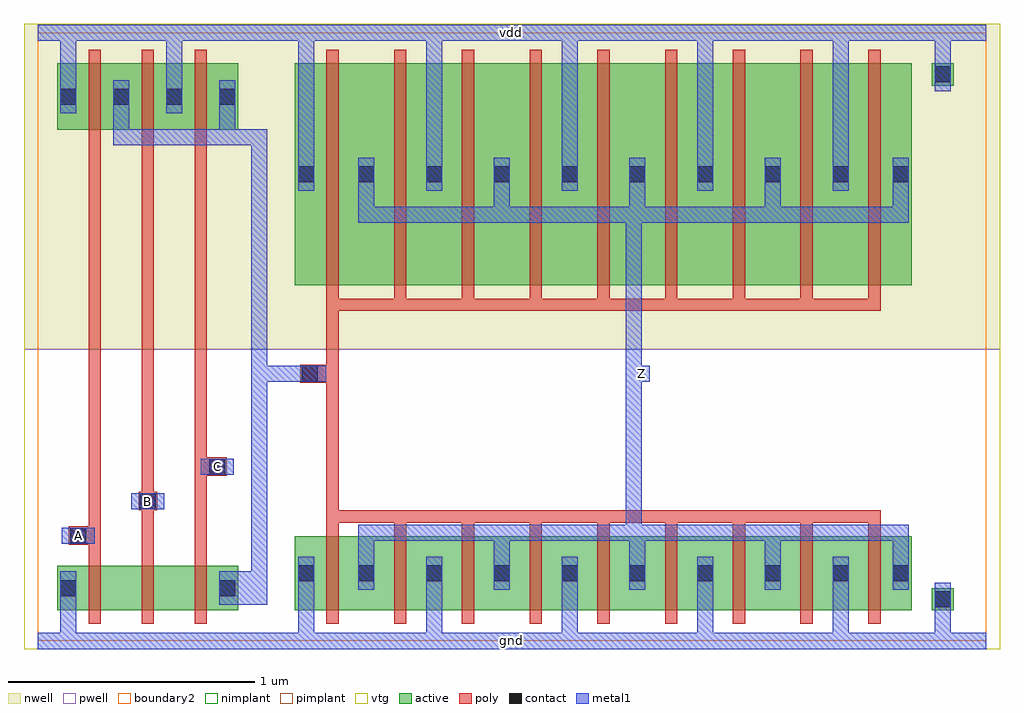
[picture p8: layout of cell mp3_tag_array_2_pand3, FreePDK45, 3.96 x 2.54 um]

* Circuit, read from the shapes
.subckt mp3_tag_array_2_pand3 A B C Z gnd vdd
M1 mp3_tag_array_2_pnand3_0_0/mp3_tag_array_2_nmos_m1_w0_180_sm1_dactive_3/D A gnd gnd nfet w=0.18u l=0.05u
M2 mp3_tag_array_2_pnand3_0_0/mp3_tag_array_2_nmos_m1_w0_180_sactive_dactive_4/D B mp3_tag_array_2_pnand3_0_0/mp3_tag_array_2_nmos_m1_w0_180_sm1_dactive_3/D gnd nfet w=0.18u l=0.05u
M3 mp3_tag_array_2_pdriver_2_1/A C mp3_tag_array_2_pnand3_0_0/mp3_tag_array_2_nmos_m1_w0_180_sactive_dactive_4/D gnd nfet w=0.18u l=0.05u
M4 Z mp3_tag_array_2_pdriver_2_1/A gnd gnd nfet w=0.3u l=0.05u m=9
M5 mp3_tag_array_2_pdriver_2_1/A A vdd vdd pfet w=0.27u l=0.05u
M6 vdd B mp3_tag_array_2_pdriver_2_1/A vdd pfet w=0.27u l=0.05u
M7 mp3_tag_array_2_pdriver_2_1/A C vdd vdd pfet w=0.27u l=0.05u
M8 Z mp3_tag_array_2_pdriver_2_1/A vdd vdd pfet w=0.9u l=0.05u m=9
.ends

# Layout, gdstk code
import gdstk
lib = gdstk.Library(unit=1e-6, precision=5e-10)
def R(c, l, rs):  # rectangles x0, y0, x1, y1
    for r in rs: c.add(gdstk.rectangle(r[:2], r[2:], *l))
def A(c, l, x, y, w, h, nx, ny, dx, dy):  # array of equal rectangles
    R(c, l, [(x+i*dx, y+j*dy, x+i*dx+w, y+j*dy+h) for i in range(nx) for j in range(ny)])
active = (1, 0)
pwell = (2, 0)
nwell = (3, 0)
nimplant = (4, 0)
pimplant = (5, 0)
vtg = (6, 0)
poly = (9, 0)
contact = (10, 0)
metal1 = (11, 0)
boundary2 = (239, 0)

mp3_tag_array_2_contact_ = lib.new_cell('mp3_tag_array_2_contact_11')
R(mp3_tag_array_2_contact_, active, [(0,0.0225,0.09,0.1125)])
R(mp3_tag_array_2_contact_, nwell, [(-0.055,-0.0325,0.145,0.1675)])
R(mp3_tag_array_2_contact_, pimplant, [(0,0.0225,0.09,0.1125)])
R(mp3_tag_array_2_contact_, contact, [(0.0125,0.035,0.0775,0.1)])
R(mp3_tag_array_2_contact_, metal1, [(0.0125,0,0.0775,0.135)])
R(mp3_tag_array_2_contact_, boundary2, [(-0.055,-0.0325,0.145,0.1675)])

mp3_tag_array_2_pmos_m1_ = lib.new_cell('mp3_tag_array_2_pmos_m1_w0_270_sm1_dm1')
R(mp3_tag_array_2_pmos_m1_, active, [(0,0,0.305,0.27)])
R(mp3_tag_array_2_pmos_m1_, nwell, [(-0.08,-0.08,0.385,0.35)])
R(mp3_tag_array_2_pmos_m1_, pimplant, [(0,0,0.305,0.27)])
R(mp3_tag_array_2_pmos_m1_, vtg, [(-0.08,-0.08,0.385,0.35)])
R(mp3_tag_array_2_pmos_m1_, poly, [(0.1275,-0.055,0.1775,0.325), (0.1275,-0.055,0.1775,0.325)])
R(mp3_tag_array_2_pmos_m1_, metal1, [(0.0125,0.0675,0.0775,0.2025), (0.2275,0.0675,0.2925,0.2025)])
R(mp3_tag_array_2_pmos_m1_, boundary2, [(-0.08,-0.08,0.385,0.35)])
mp3_tag_array_2_pmos_m1_.add(gdstk.Reference(mp3_tag_array_2_contact_, (0,0.0675)))
mp3_tag_array_2_pmos_m1_.add(gdstk.Reference(mp3_tag_array_2_contact_, (0.215,0.0675)))
mp3_tag_array_2_pmos_m1_.add(gdstk.Label('G', (0.1525,0.135), layer=9, texttype=0))
mp3_tag_array_2_pmos_m1_.add(gdstk.Label('S', (0.045,0.135), layer=11, texttype=0))
mp3_tag_array_2_pmos_m1_.add(gdstk.Label('D', (0.26,0.135), layer=11, texttype=0))

c_mp3_tag_array_2_contact_ = lib.new_cell('mp3_tag_array_2_contact_10')
R(c_mp3_tag_array_2_contact_, active, [(0,0.0225,0.09,0.1125)])
R(c_mp3_tag_array_2_contact_, pwell, [(-0.055,-0.0325,0.145,0.1675)])
R(c_mp3_tag_array_2_contact_, nimplant, [(0,0.0225,0.09,0.1125)])
R(c_mp3_tag_array_2_contact_, contact, [(0.0125,0.035,0.0775,0.1)])
R(c_mp3_tag_array_2_contact_, metal1, [(0.0125,0,0.0775,0.135)])
R(c_mp3_tag_array_2_contact_, boundary2, [(-0.055,-0.0325,0.145,0.1675)])

mp3_tag_array_2_nmos_m1_ = lib.new_cell('mp3_tag_array_2_nmos_m1_w0_180_sm1_dactive')
R(mp3_tag_array_2_nmos_m1_, active, [(0,0,0.305,0.18), (0.215,0.045,0.305,0.135)])
R(mp3_tag_array_2_nmos_m1_, pwell, [(-0.08,-0.08,0.385,0.26)])
R(mp3_tag_array_2_nmos_m1_, nimplant, [(0,0,0.305,0.18)])
R(mp3_tag_array_2_nmos_m1_, vtg, [(-0.08,-0.08,0.385,0.26)])
R(mp3_tag_array_2_nmos_m1_, poly, [(0.1275,-0.055,0.1775,0.235), (0.1275,-0.055,0.1775,0.235)])
R(mp3_tag_array_2_nmos_m1_, metal1, [(0.0125,0.0225,0.0775,0.1575)])
R(mp3_tag_array_2_nmos_m1_, boundary2, [(-0.08,-0.08,0.385,0.26)])
mp3_tag_array_2_nmos_m1_.add(gdstk.Reference(c_mp3_tag_array_2_contact_, (0,0.0225)))
mp3_tag_array_2_nmos_m1_.add(gdstk.Label('G', (0.1525,0.09), layer=9, texttype=0))
mp3_tag_array_2_nmos_m1_.add(gdstk.Label('S', (0.045,0.09), layer=11, texttype=0))
mp3_tag_array_2_nmos_m1_.add(gdstk.Label('D', (0.26,0.09), layer=1, texttype=0))

c_mp3_tag_array_2_nmos_m1_ = lib.new_cell('mp3_tag_array_2_nmos_m1_w0_180_sactive_dactive')
R(c_mp3_tag_array_2_nmos_m1_, active, [(0,0,0.305,0.18), (0,0.045,0.09,0.135), (0.215,0.045,0.305,0.135)])
R(c_mp3_tag_array_2_nmos_m1_, pwell, [(-0.08,-0.08,0.385,0.26)])
R(c_mp3_tag_array_2_nmos_m1_, nimplant, [(0,0,0.305,0.18)])
R(c_mp3_tag_array_2_nmos_m1_, vtg, [(-0.08,-0.08,0.385,0.26)])
R(c_mp3_tag_array_2_nmos_m1_, poly, [(0.1275,-0.055,0.1775,0.235), (0.1275,-0.055,0.1775,0.235)])
R(c_mp3_tag_array_2_nmos_m1_, boundary2, [(-0.08,-0.08,0.385,0.26)])
c_mp3_tag_array_2_nmos_m1_.add(gdstk.Label('G', (0.1525,0.09), layer=9, texttype=0))
c_mp3_tag_array_2_nmos_m1_.add(gdstk.Label('S', (0.045,0.09), layer=1, texttype=0))
c_mp3_tag_array_2_nmos_m1_.add(gdstk.Label('D', (0.26,0.09), layer=1, texttype=0))

c_mp3_tag_array_2_nmos_m1__ = lib.new_cell('mp3_tag_array_2_nmos_m1_w0_180_sactive_dm1')
R(c_mp3_tag_array_2_nmos_m1__, active, [(0,0,0.305,0.18), (0,0.045,0.09,0.135)])
R(c_mp3_tag_array_2_nmos_m1__, pwell, [(-0.08,-0.08,0.385,0.26)])
R(c_mp3_tag_array_2_nmos_m1__, nimplant, [(0,0,0.305,0.18)])
R(c_mp3_tag_array_2_nmos_m1__, vtg, [(-0.08,-0.08,0.385,0.26)])
R(c_mp3_tag_array_2_nmos_m1__, poly, [(0.1275,-0.055,0.1775,0.235), (0.1275,-0.055,0.1775,0.235)])
R(c_mp3_tag_array_2_nmos_m1__, metal1, [(0.2275,0.0225,0.2925,0.1575)])
R(c_mp3_tag_array_2_nmos_m1__, boundary2, [(-0.08,-0.08,0.385,0.26)])
c_mp3_tag_array_2_nmos_m1__.add(gdstk.Reference(c_mp3_tag_array_2_contact_, (0.215,0.0225)))
c_mp3_tag_array_2_nmos_m1__.add(gdstk.Label('G', (0.1525,0.09), layer=9, texttype=0))
c_mp3_tag_array_2_nmos_m1__.add(gdstk.Label('S', (0.045,0.09), layer=1, texttype=0))
c_mp3_tag_array_2_nmos_m1__.add(gdstk.Label('D', (0.26,0.09), layer=11, texttype=0))

c_mp3_tag_array_2_contact__ = lib.new_cell('mp3_tag_array_2_contact_14')
R(c_mp3_tag_array_2_contact__, poly, [(0.03,0,0.105,0.075)])
R(c_mp3_tag_array_2_contact__, contact, [(0.035,0.005,0.1,0.07)])
R(c_mp3_tag_array_2_contact__, metal1, [(0,0.005,0.135,0.07)])
R(c_mp3_tag_array_2_contact__, boundary2, [(0,0,0.135,0.075)])

mp3_tag_array_2_pnand3_0 = lib.new_cell('mp3_tag_array_2_pnand3_0')
R(mp3_tag_array_2_pnand3_0, pwell, [(-0.055,-0.0325,1.02,1.185)])
R(mp3_tag_array_2_pnand3_0, nwell, [(-0.055,1.185,1.02,2.505)])
R(mp3_tag_array_2_pnand3_0, vtg, [(-0.055,-0.0325,1.02,1.185), (-0.055,1.185,1.02,2.505)])
A(mp3_tag_array_2_pnand3_0, poly, 0.2075, 0.36, 0.05, 1.66, 3, 1, 0.215, 0)
R(mp3_tag_array_2_pnand3_0, poly, [(0.165,0.39,0.2075,0.465), (0.4225,0.53,0.4475,0.605), (0.6375,0.67,0.73,0.745)])
R(mp3_tag_array_2_pnand3_0, metal1, [(0,-0.0325,0.965,0.0325), (0.0925,-0.0325,0.1575,0.1475), (0.77,0.1475,0.9,0.2825), (0.8675,0.1475,0.9325,2.045), (0.0975,0.395,0.2325,0.46), (0.38,0.535,0.515,0.6), (0.6625,0.675,0.7975,0.74), (0.3075,2.0125,0.3725,2.0775), (0.34,2.0125,0.9,2.0775), (0.7375,2.0125,0.8025,2.0775), (0.77,2.0125,0.9,2.0775), (0.8675,2.0125,0.9325,2.0775), (0.3075,2.045,0.3725,2.21), (0.7375,2.045,0.8025,2.21), (0.0925,2.1425,0.1575,2.5025), (0.5225,2.1425,0.5875,2.5025), (0,2.4375,0.965,2.5025)])
R(mp3_tag_array_2_pnand3_0, boundary2, [(0,0,0.965,2.47), (0,0,0.965,2.47)])
mp3_tag_array_2_pnand3_0.add(gdstk.Reference(mp3_tag_array_2_pmos_m1_, (0.08,2.075)))
mp3_tag_array_2_pnand3_0.add(gdstk.Reference(mp3_tag_array_2_pmos_m1_, (0.295,2.075)))
mp3_tag_array_2_pnand3_0.add(gdstk.Reference(mp3_tag_array_2_pmos_m1_, (0.51,2.075)))
mp3_tag_array_2_pnand3_0.add(gdstk.Reference(mp3_tag_array_2_nmos_m1_, (0.08,0.125)))
mp3_tag_array_2_pnand3_0.add(gdstk.Reference(c_mp3_tag_array_2_nmos_m1_, (0.295,0.125)))
mp3_tag_array_2_pnand3_0.add(gdstk.Reference(c_mp3_tag_array_2_nmos_m1__, (0.51,0.125)))
mp3_tag_array_2_pnand3_0.add(gdstk.Reference(c_mp3_tag_array_2_contact__, (0.0975,0.39)))
mp3_tag_array_2_pnand3_0.add(gdstk.Reference(c_mp3_tag_array_2_contact__, (0.38,0.53)))
mp3_tag_array_2_pnand3_0.add(gdstk.Reference(c_mp3_tag_array_2_contact__, (0.6625,0.67)))
mp3_tag_array_2_pnand3_0.add(gdstk.Label('A', (0.165,0.4275), layer=11, texttype=0))
mp3_tag_array_2_pnand3_0.add(gdstk.Label('B', (0.4475,0.5675), layer=11, texttype=0))
mp3_tag_array_2_pnand3_0.add(gdstk.Label('C', (0.73,0.7075), layer=11, texttype=0))
mp3_tag_array_2_pnand3_0.add(gdstk.Label('Z', (0.9,2.045), layer=11, texttype=0))
mp3_tag_array_2_pnand3_0.add(gdstk.Label('gnd', (0.4825,0), layer=11, texttype=0))
mp3_tag_array_2_pnand3_0.add(gdstk.Label('vdd', (0.4825,2.47), layer=11, texttype=0))

mp3_tag_array_2_pmos_m9_ = lib.new_cell('mp3_tag_array_2_pmos_m9_w0_900_sm1_dm1_da_p')
R(mp3_tag_array_2_pmos_m9_, active, [(0,0,2.505,0.9)])
R(mp3_tag_array_2_pmos_m9_, nwell, [(-0.08,-0.08,2.585,0.98)])
R(mp3_tag_array_2_pmos_m9_, pimplant, [(0,0,2.505,0.9)])
R(mp3_tag_array_2_pmos_m9_, vtg, [(-0.08,-0.08,2.585,0.98)])
A(mp3_tag_array_2_pmos_m9_, poly, 0.1275, -0.055, 0.05, 1.01, 9, 1, 0.275, 0)
R(mp3_tag_array_2_pmos_m9_, poly, [(0.1275,-0.105,2.3775,-0.055)])
A(mp3_tag_array_2_pmos_m9_, metal1, 0.2575, 0.285, 0.065, 0.165, 4, 1, 0.55, 0)
A(mp3_tag_array_2_pmos_m9_, metal1, 0.5325, 0.3825, 0.065, 0.135, 4, 1, 0.55, 0)
R(mp3_tag_array_2_pmos_m9_, metal1, [(0.2575,0.2525,2.4925,0.3175), (2.4275,0.285,2.4925,0.45), (0.0125,0.3825,0.0775,0.5175)])
R(mp3_tag_array_2_pmos_m9_, boundary2, [(-0.08,-0.105,2.585,0.98)])
mp3_tag_array_2_pmos_m9_.add(gdstk.Reference(mp3_tag_array_2_contact_, (0,0.3825)))
mp3_tag_array_2_pmos_m9_.add(gdstk.Reference(mp3_tag_array_2_contact_, (0.245,0.3825)))
mp3_tag_array_2_pmos_m9_.add(gdstk.Reference(mp3_tag_array_2_contact_, (0.52,0.3825)))
mp3_tag_array_2_pmos_m9_.add(gdstk.Reference(mp3_tag_array_2_contact_, (0.795,0.3825)))
mp3_tag_array_2_pmos_m9_.add(gdstk.Reference(mp3_tag_array_2_contact_, (1.07,0.3825)))
mp3_tag_array_2_pmos_m9_.add(gdstk.Reference(mp3_tag_array_2_contact_, (1.345,0.3825)))
mp3_tag_array_2_pmos_m9_.add(gdstk.Reference(mp3_tag_array_2_contact_, (1.62,0.3825)))
mp3_tag_array_2_pmos_m9_.add(gdstk.Reference(mp3_tag_array_2_contact_, (1.895,0.3825)))
mp3_tag_array_2_pmos_m9_.add(gdstk.Reference(mp3_tag_array_2_contact_, (2.17,0.3825)))
mp3_tag_array_2_pmos_m9_.add(gdstk.Reference(mp3_tag_array_2_contact_, (2.415,0.3825)))
mp3_tag_array_2_pmos_m9_.add(gdstk.Label('G', (1.2525,-0.08), layer=9, texttype=0))
mp3_tag_array_2_pmos_m9_.add(gdstk.Label('S', (1.115,0.45), layer=11, texttype=0))
mp3_tag_array_2_pmos_m9_.add(gdstk.Label('S', (0.045,0.45), layer=11, texttype=0))
mp3_tag_array_2_pmos_m9_.add(gdstk.Label('S', (1.665,0.45), layer=11, texttype=0))
mp3_tag_array_2_pmos_m9_.add(gdstk.Label('S', (2.215,0.45), layer=11, texttype=0))
mp3_tag_array_2_pmos_m9_.add(gdstk.Label('S', (0.565,0.45), layer=11, texttype=0))
mp3_tag_array_2_pmos_m9_.add(gdstk.Label('D', (1.375,0.285), layer=11, texttype=0))

mp3_tag_array_2_nmos_m9_ = lib.new_cell('mp3_tag_array_2_nmos_m9_w0_300_sm1_dm1_da_p')
R(mp3_tag_array_2_nmos_m9_, active, [(0,0,2.505,0.3)])
R(mp3_tag_array_2_nmos_m9_, pwell, [(-0.08,-0.08,2.585,0.38)])
R(mp3_tag_array_2_nmos_m9_, nimplant, [(0,0,2.505,0.3)])
R(mp3_tag_array_2_nmos_m9_, vtg, [(-0.08,-0.08,2.585,0.38)])
A(mp3_tag_array_2_nmos_m9_, poly, 0.1275, -0.055, 0.05, 0.41, 9, 1, 0.275, 0)
R(mp3_tag_array_2_nmos_m9_, poly, [(0.1275,0.355,2.3775,0.405)])
A(mp3_tag_array_2_nmos_m9_, metal1, 0.5325, 0.0825, 0.065, 0.135, 4, 1, 0.55, 0)
A(mp3_tag_array_2_nmos_m9_, metal1, 0.2575, 0.15, 0.065, 0.165, 4, 1, 0.55, 0)
R(mp3_tag_array_2_nmos_m9_, metal1, [(0.0125,0.0825,0.0775,0.2175), (2.4275,0.15,2.4925,0.315), (0.2575,0.2825,2.4925,0.3475)])
R(mp3_tag_array_2_nmos_m9_, boundary2, [(-0.08,-0.08,2.585,0.405)])
mp3_tag_array_2_nmos_m9_.add(gdstk.Reference(c_mp3_tag_array_2_contact_, (0,0.0825)))
mp3_tag_array_2_nmos_m9_.add(gdstk.Reference(c_mp3_tag_array_2_contact_, (0.245,0.0825)))
mp3_tag_array_2_nmos_m9_.add(gdstk.Reference(c_mp3_tag_array_2_contact_, (0.52,0.0825)))
mp3_tag_array_2_nmos_m9_.add(gdstk.Reference(c_mp3_tag_array_2_contact_, (0.795,0.0825)))
mp3_tag_array_2_nmos_m9_.add(gdstk.Reference(c_mp3_tag_array_2_contact_, (1.07,0.0825)))
mp3_tag_array_2_nmos_m9_.add(gdstk.Reference(c_mp3_tag_array_2_contact_, (1.345,0.0825)))
mp3_tag_array_2_nmos_m9_.add(gdstk.Reference(c_mp3_tag_array_2_contact_, (1.62,0.0825)))
mp3_tag_array_2_nmos_m9_.add(gdstk.Reference(c_mp3_tag_array_2_contact_, (1.895,0.0825)))
mp3_tag_array_2_nmos_m9_.add(gdstk.Reference(c_mp3_tag_array_2_contact_, (2.17,0.0825)))
mp3_tag_array_2_nmos_m9_.add(gdstk.Reference(c_mp3_tag_array_2_contact_, (2.415,0.0825)))
mp3_tag_array_2_nmos_m9_.add(gdstk.Label('G', (1.2525,0.38), layer=9, texttype=0))
mp3_tag_array_2_nmos_m9_.add(gdstk.Label('S', (2.215,0.15), layer=11, texttype=0))
mp3_tag_array_2_nmos_m9_.add(gdstk.Label('S', (1.115,0.15), layer=11, texttype=0))
mp3_tag_array_2_nmos_m9_.add(gdstk.Label('S', (0.565,0.15), layer=11, texttype=0))
mp3_tag_array_2_nmos_m9_.add(gdstk.Label('S', (1.665,0.15), layer=11, texttype=0))
mp3_tag_array_2_nmos_m9_.add(gdstk.Label('S', (0.045,0.15), layer=11, texttype=0))
mp3_tag_array_2_nmos_m9_.add(gdstk.Label('D', (1.375,0.315), layer=11, texttype=0))

c_mp3_tag_array_2_contact___ = lib.new_cell('mp3_tag_array_2_contact_12')
R(c_mp3_tag_array_2_contact___, active, [(0,0.0225,0.09,0.1125)])
R(c_mp3_tag_array_2_contact___, nwell, [(-0.055,-0.0325,0.145,0.1675)])
R(c_mp3_tag_array_2_contact___, nimplant, [(0,0.0225,0.09,0.1125)])
R(c_mp3_tag_array_2_contact___, contact, [(0.0125,0.035,0.0775,0.1)])
R(c_mp3_tag_array_2_contact___, metal1, [(0.0125,0,0.0775,0.135)])
R(c_mp3_tag_array_2_contact___, boundary2, [(-0.055,-0.0325,0.145,0.1675)])

c_mp3_tag_array_2_contact____ = lib.new_cell('mp3_tag_array_2_contact_13')
R(c_mp3_tag_array_2_contact____, active, [(0,0.0225,0.09,0.1125)])
R(c_mp3_tag_array_2_contact____, pwell, [(-0.055,-0.0325,0.145,0.1675)])
R(c_mp3_tag_array_2_contact____, pimplant, [(0,0.0225,0.09,0.1125)])
R(c_mp3_tag_array_2_contact____, contact, [(0.0125,0.035,0.0775,0.1)])
R(c_mp3_tag_array_2_contact____, metal1, [(0.0125,0,0.0775,0.135)])
R(c_mp3_tag_array_2_contact____, boundary2, [(-0.055,-0.0325,0.145,0.1675)])

mp3_tag_array_2_pinv_13 = lib.new_cell('mp3_tag_array_2_pinv_13')
R(mp3_tag_array_2_pinv_13, pwell, [(-0.055,-0.0325,2.9425,1.185)])
R(mp3_tag_array_2_pinv_13, nwell, [(-0.055,1.185,2.9425,2.505)])
R(mp3_tag_array_2_pinv_13, vtg, [(-0.055,-0.0325,2.9425,1.185), (-0.055,1.185,2.9425,2.505)])
R(mp3_tag_array_2_pinv_13, poly, [(0.2075,0.53,0.2575,1.34), (0.14,1.0475,0.2075,1.1225)])
A(mp3_tag_array_2_pinv_13, metal1, 0.6125, -0.0325, 0.065, 0.24, 4, 1, 0.55, 0)
A(mp3_tag_array_2_pinv_13, metal1, 0.6125, 1.8275, 0.065, 0.675, 4, 1, 0.55, 0)
R(mp3_tag_array_2_pinv_13, metal1, [(0,-0.0325,2.8875,0.0325), (0.0925,-0.0325,0.1575,0.2075), (2.6775,0,2.7425,0.17), (1.4225,0.4075,1.4875,1.7625), (0.0725,1.0525,0.2075,1.1175), (1.455,1.0525,1.52,1.1175), (0.0925,1.8275,0.1575,2.5025), (2.6775,2.3,2.7425,2.47), (0,2.4375,2.8875,2.5025)])
R(mp3_tag_array_2_pinv_13, boundary2, [(0,0,2.8875,2.47), (0,0,2.8875,2.47)])
mp3_tag_array_2_pinv_13.add(gdstk.Reference(mp3_tag_array_2_pmos_m9_, (0.08,1.445)))
mp3_tag_array_2_pinv_13.add(gdstk.Reference(mp3_tag_array_2_nmos_m9_, (0.08,0.125)))
mp3_tag_array_2_pinv_13.add(gdstk.Reference(c_mp3_tag_array_2_contact___, (2.665,2.2325)))
mp3_tag_array_2_pinv_13.add(gdstk.Reference(c_mp3_tag_array_2_contact____, (2.665,0.1025)))
mp3_tag_array_2_pinv_13.add(gdstk.Reference(c_mp3_tag_array_2_contact__, (0.0725,1.0475)))
mp3_tag_array_2_pinv_13.add(gdstk.Label('A', (0.14,1.085), layer=11, texttype=0))
mp3_tag_array_2_pinv_13.add(gdstk.Label('Z', (1.4875,1.085), layer=11, texttype=0))
mp3_tag_array_2_pinv_13.add(gdstk.Label('gnd', (1.444,0), layer=11, texttype=0))
mp3_tag_array_2_pinv_13.add(gdstk.Label('vdd', (1.444,2.47), layer=11, texttype=0))

mp3_tag_array_2_pdriver_ = lib.new_cell('mp3_tag_array_2_pdriver_2')
R(mp3_tag_array_2_pdriver_, pwell, [(-0.055,-0.0325,2.9425,1.185)])
R(mp3_tag_array_2_pdriver_, nwell, [(-0.055,1.185,2.9425,2.505)])
R(mp3_tag_array_2_pdriver_, vtg, [(-0.055,-0.0325,2.9425,1.185), (-0.055,1.185,2.9425,2.505)])
R(mp3_tag_array_2_pdriver_, metal1, [(0,-0.0325,2.8875,0.0325), (0.0725,1.0525,0.2075,1.1175), (1.455,1.0525,1.52,1.1175), (0,2.4375,2.8875,2.5025)])
R(mp3_tag_array_2_pdriver_, boundary2, [(0,0,2.8875,2.47), (0,0,2.8875,2.47)])
mp3_tag_array_2_pdriver_.add(gdstk.Reference(mp3_tag_array_2_pinv_13, (0,0)))
mp3_tag_array_2_pdriver_.add(gdstk.Label('Z', (1.4875,1.085), layer=11, texttype=0))
mp3_tag_array_2_pdriver_.add(gdstk.Label('A', (0.14,1.085), layer=11, texttype=0))
mp3_tag_array_2_pdriver_.add(gdstk.Label('gnd', (1.444,0), layer=11, texttype=0))
mp3_tag_array_2_pdriver_.add(gdstk.Label('vdd', (1.444,2.47), layer=11, texttype=0))

mp3_tag_array_2_pand3 = lib.new_cell('mp3_tag_array_2_pand3')
R(mp3_tag_array_2_pand3, metal1, [(0,-0.0325,3.8525,0.0325), (0.0975,0.395,0.2325,0.46), (0.38,0.535,0.515,0.6), (0.6625,0.675,0.7975,0.74), (0.8675,1.0525,0.9325,1.1175), (0.9,1.0525,1.105,1.1175), (2.42,1.0525,2.485,1.1175), (0.8675,1.085,0.9325,2.045), (0,2.4375,3.8525,2.5025)])
R(mp3_tag_array_2_pand3, boundary2, [(0,0,3.8525,2.47), (0,0,3.8525,2.47)])
mp3_tag_array_2_pand3.add(gdstk.Reference(mp3_tag_array_2_pnand3_0, (0,0)))
mp3_tag_array_2_pand3.add(gdstk.Reference(mp3_tag_array_2_pdriver_, (0.965,0)))
mp3_tag_array_2_pand3.add(gdstk.Label('Z', (2.4525,1.085), layer=11, texttype=0))
mp3_tag_array_2_pand3.add(gdstk.Label('A', (0.165,0.4275), layer=11, texttype=0))
mp3_tag_array_2_pand3.add(gdstk.Label('B', (0.4475,0.5675), layer=11, texttype=0))
mp3_tag_array_2_pand3.add(gdstk.Label('C', (0.73,0.7075), layer=11, texttype=0))
mp3_tag_array_2_pand3.add(gdstk.Label('gnd', (1.926,0), layer=11, texttype=0))
mp3_tag_array_2_pand3.add(gdstk.Label('vdd', (1.926,2.47), layer=11, texttype=0))

lib.write_gds('mp3_tag_array_2_pand3.gds')
